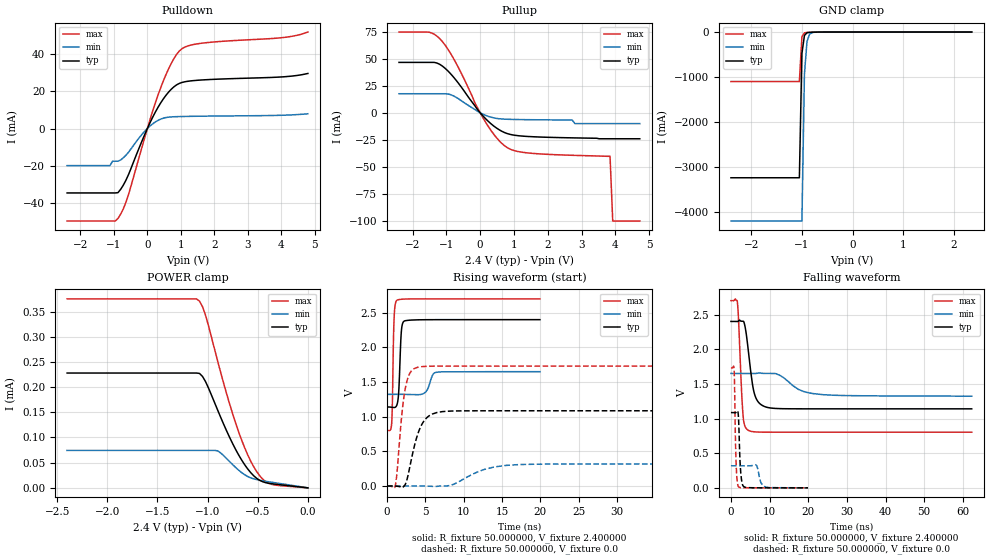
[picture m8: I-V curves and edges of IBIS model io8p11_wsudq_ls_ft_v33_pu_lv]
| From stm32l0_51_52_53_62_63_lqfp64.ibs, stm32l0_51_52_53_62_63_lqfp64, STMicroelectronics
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|   Model io8p11_wsudq_ls_ft_v33_pu_lv
[Model]  io8p11_wsudq_ls_ft_v33_pu_lv
Model_type I/O
Polarity   Non-Inverting
Enable   Active-Low
Vinl =   0.720000V
Vinh =   1.680000V
Vmeas =  1.200000V
Cref =   50.000000pF
Rref =   100.000000M
Vref =   0.0V
C_comp   2.582000pF   2.574200pF   2.601000pF
[Temperature Range]   25.000000   0.105000k   -40.000000
[Pullup Reference]   2.400000V   1.650000V   2.700000V
[Pulldown Reference]   0.0V   0.0V   0.0V
[POWER Clamp Reference]   2.400000V   1.650000V   2.700000V
[GND Clamp Reference]   0.0V   0.0V   0.0V
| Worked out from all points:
|   slope of the pulldown table from 0 to 0.36 V, typ, clamps not added: 28.5 ohm
|   slope of the pullup table from 0 to 0.36 V, typ, clamps not added: 32.2 ohm
|   GND clamp passes 1 mA (typ) near -0.65 V on its own axis
|   rising waveform, R_fixture 50.000000, V_fixture 2.400000: 20-80 % time 279ps typ, 633ps min, 195ps max; typ from 1.14 V to 2.4 V
|   rising waveform, R_fixture 50.000000, V_fixture 0.0: 20-80 % time 1.58ns typ, 3.84ns min, 926ps max; typ from 0.001 V to 1.09 V
|   falling waveform, R_fixture 50.000000, V_fixture 2.400000: 20-80 % time 1.79ns typ, 5.22ns min, 915ps max; typ from 2.4 V to 1.14 V
|   falling waveform, R_fixture 50.000000, V_fixture 0.0: 20-80 % time 485ps typ, 869ps min, 385ps max; typ from 1.09 V to 0.001 V
[Pulldown]
|Voltage   I(typ)   I(min)   I(max)
-2.4V     -34.71mA   -20mA      -49.82mA
-1.12V    -34.71mA   -20mA      -49.82mA
-1.04V    -34.71mA   -17.61mA   -49.82mA
-880mV    -34.55mA   -17.61mA   -48.46mA
-560mV    -24.65mA   -12.68mA   -35.33mA
0V        0A         0A         0A
400mV     13.84mA    5.066mA    22.03mA
720mV     21.25mA    6.254mA    35.26mA
1.04V     24.83mA    6.464mA    43.02mA
1.6V      26.11mA    6.627mA    45.88mA
4V        27.76mA    7.125mA    48.88mA
4.8V      29.64mA    7.94mA     51.96mA
[Pullup]
|Voltage   I(typ)   I(min)   I(max)
-2.4V     46.57mA    17.6mA     74.62mA
-1.52V    46.57mA    17.6mA     74.51mA
-1.2V     44.84mA    17.6mA     68.63mA
-720mV    30.37mA    14.45mA    46.27mA
-160mV    6.617mA    3.074mA    9.467mA
160mV     -5.477mA   -2.361mA   -8.695mA
480mV     -14.04mA   -5.167mA   -22.91mA
800mV     -19.21mA   -5.978mA   -32.18mA
1.52V     -22.07mA   -6.4mA     -37.42mA
3.84V     -24mA      -10mA      -40.2mA
3.92V     -24mA      -10mA      -100mA
4.72V     -24mA      -10mA      -100mA
[GND_clamp]
|Voltage   I(typ)   I(min)   I(max)
-2.4V     -3.237A    -4.198A    -1.1A
-1.05V    -3.237A    -4.198A    -1.1A
-1V       -475.9mA   -4.198A    -104.3mA
-950mV    -76.36mA   -935.5mA   -18.56mA
-900mV    -16.77mA   -213mA     -9.293mA
-850mV    -6.713mA   -51.08mA   -6.724mA
-800mV    -4.108mA   -13.94mA   -4.924mA
-650mV    -1.048mA   -1.2mA     -1.149mA
2.35V     0A         0A         0A
[POWER_clamp]
|Voltage   I(typ)   I(min)   I(max)
-2.4V     228uA      74.29uA    375.2uA
-1.11V    228uA      74.29uA    375.2uA
-1.08V    227.1uA    74.29uA    370.5uA
-1.02V    210.9uA    74.29uA    342.6uA
-900mV    154.7uA    73.58uA    252.2uA
-810mV    113.1uA    58.15uA    186.8uA
-720mV    76.17uA    40.44uA    128.5uA
-630mV    45.92uA    26.04uA    79.56uA
-540mV    23.97uA    17.88uA    41.93uA
-450mV    12.07uA    14.02uA    17.32uA
-390mV    9.04uA     12.05uA    8.867uA
0V        0A         0A         0A
[Ramp]
| variable   typ   min   max
dV/dt_r  0.65095/1.58012n   0.19037/3.83599n   1.03799/0.92277n
dV/dt_f  0.75618/1.78528n   0.19404/5.21585n   1.13779/0.91185n
R_load = 50.000000
[Rising Waveform]
R_fixture= 50.000000
V_fixture= 2.400000
V_fixture_min= 1.650000
V_fixture_max= 2.700000
|time   V(typ)   V(min)   V(max)
0s        1.14V      1.323V     803.1mV
600.6ps   1.137V     1.323V     889.7mV
920.9ps   1.133V     1.323V     2.407V
1.281ns   1.167V     1.323V     2.679V
1.522ns   1.349V     1.323V     2.689V
1.882ns   2.243V     1.323V     2.694V
2.242ns   2.38V      1.322V     2.697V
4.925ns   2.399V     1.346V     2.7V
6.446ns   2.4V       1.64V      2.7V
19.94ns   2.4V       1.65V      2.7V
[Rising Waveform]
R_fixture= 50.000000
V_fixture= 0.0
V_fixture_min= 0.0
V_fixture_max= 0.0
|time   V(typ)   V(min)   V(max)
0s        854.4uV    1.333mV    747.5uV
1.001ns   556.4uV    1.325mV    -23.64mV
1.251ns   -1.738mV   1.32mV     132.4mV
2.377ns   21.38mV    1.411mV    1.404V
3.003ns   290.8mV    1.411mV    1.632V
4.004ns   745.5mV    1.179mV    1.713V
5.506ns   1.014V     -2.257mV   1.728V
8.383ns   1.082V     13.51mV    1.73V
17.27ns   1.086V     309.8mV    1.73V
62.31ns   1.086V     318.6mV    1.73V
[Falling Waveform]
R_fixture= 50.000000
V_fixture= 2.400000
V_fixture_min= 1.650000
V_fixture_max= 2.700000
|time   V(typ)   V(min)   V(max)
0s        2.4V       1.65V      2.7V
1.627ns   2.399V     1.65V      2.696V
1.877ns   2.403V     1.65V      2.523V
2.753ns   2.403V     1.65V      1.393V
3.128ns   2.403V     1.65V      1.049V
4.505ns   1.974V     1.65V      830mV
6.131ns   1.348V     1.65V      808mV
9.259ns   1.163V     1.651V     803.5mV
21.27ns   1.14V      1.36V      803.1mV
62.31ns   1.14V      1.323V     803.1mV
[Falling Waveform]
R_fixture= 50.000000
V_fixture= 0.0
V_fixture_min= 0.0
V_fixture_max= 0.0
|time   V(typ)   V(min)   V(max)
0s        1.086V     318.6mV    1.73V
800.8ps   1.086V     318.6mV    1.721V
1.321ns   1.088V     318.6mV    386.1mV
1.562ns   1.103V     318.6mV    128.9mV
1.962ns   1.001V     318.6mV    15.76mV
2.482ns   260.4mV    318.6mV    4.532mV
3.243ns   22.71mV    318.6mV    2.638mV
6.567ns   1.673mV    327.5mV    824.5uV
9.209ns   1.014mV    9.443mV    752.1uV
19.94ns   854.4uV    1.333mV    747.5uV
